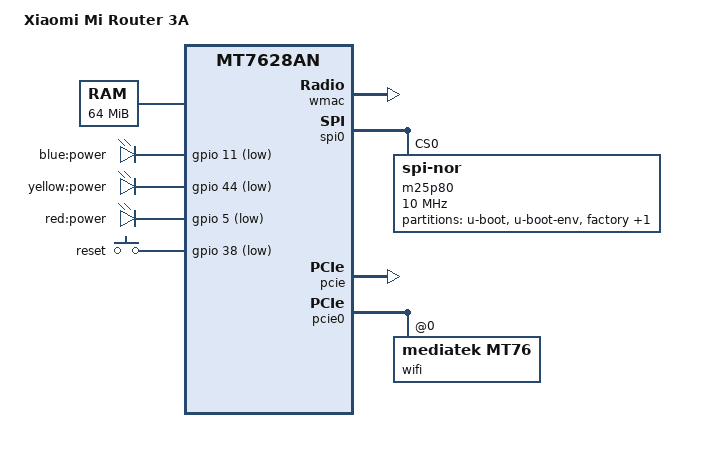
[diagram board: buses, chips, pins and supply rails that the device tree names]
/dts-v1/;

#include "mt7628an.dtsi"

#include <dt-bindings/gpio/gpio.h>
#include <dt-bindings/input/input.h>

/ {
	compatible = "xiaomi,mi-router-3a", "mediatek,mt7628an-soc";
	model = "Xiaomi Mi Router 3A";

	aliases {
		led-boot = &led_power_yellow;
		led-failsafe = &led_power_red;
		led-running = &led_power_blue;
		led-upgrade = &led_power_yellow;
		label-mac-device = &ethernet;
	};

	chosen {
		bootargs = "console=ttyS0,115200";
	};
	/*内存大小64M*/
	memory@0 {
		device_type = "memory";
		reg = <0x0 0x4000000>;
	};

	leds {
		compatible = "gpio-leds";
        
        led_power_blue: power_blue {
			label = "blue:power";
			gpios = <&gpio 11 GPIO_ACTIVE_LOW>;
		};

		led_power_yellow: power_yellow {
			label = "yellow:power";
			gpios = <&gpio 44 GPIO_ACTIVE_LOW>;
		};

		led_power_red: power_red {
			label = "red:power";
			gpios = <&gpio 5 GPIO_ACTIVE_LOW>;
		};

	};

	keys {
		compatible = "gpio-keys";

		reset {
			label = "reset";
			gpios = <&gpio 38 GPIO_ACTIVE_LOW>;
			linux,code = <KEY_RESTART>;
		};
	};
};

&wmac {
	status = "okay";
};

&spi0 {
	status = "okay";

	m25p80@0 {
		compatible = "jedec,spi-nor";
		reg = <0>;
		spi-max-frequency = <10000000>;
		/*闪存大小16M*/
		partitions {
			compatible = "fixed-partitions";
			#address-cells = <1>;
			#size-cells = <1>;

			partition@0 {
				label = "u-boot";
				reg = <0x0 0x30000>;
				read-only;
			};

			partition@30000 {
				label = "u-boot-env";
				reg = <0x30000 0x10000>;
				read-only;
			};

			factory: partition@40000 {
				label = "factory";
				reg = <0x40000 0x10000>;
				read-only;
			};

			partition@50000 {
				compatible = "denx,uimage";
				label = "firmware";
				reg = <0x50000 0xfb0000>;
			};
		};
	};
};
/*以上均已测试通过，勿修改*/
/*5g WIFI*/
&pcie {
	status = "okay";
};

&pcie0 {
	wifi@0,0 {
		compatible = "mediatek,mt76";
		reg = <0x0000 0 0 0 0>;
		mediatek,mtd-eeprom = <&factory 0x8000>;
		mtd-mac-address = <&factory 0x2e>;
		/*从 HC5861B.dts 抄写的，希望有用，第四次测试*/
		ieee80211-freq-limit = <5000000 6000000>;
	};
};
/*5g WIFI*/

/*总线*/
&pinctrl {
	state_default: pinctrl0 {
		gpio {
			ralink,group = "gpio", "refclk", "wdt", "wled_an";
			ralink,function = "gpio";
		};
	};
};
/*总线*/

/*MAC地址获取地址*/
&ethernet {
	mtd-mac-address = <&factory 0x28>;
};
/*MAC地址获取地址*/

&esw {
	mediatek,portmap = <0x2f>;
	/*从 4A-100M.dts 抄写的，希望有用，第四次测试*/
	mediatek,portdisable = <0x2a>;
};

/*wan口默认启用*/
&wmac {
	status = "okay";
};
/*wan口默认启用*/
